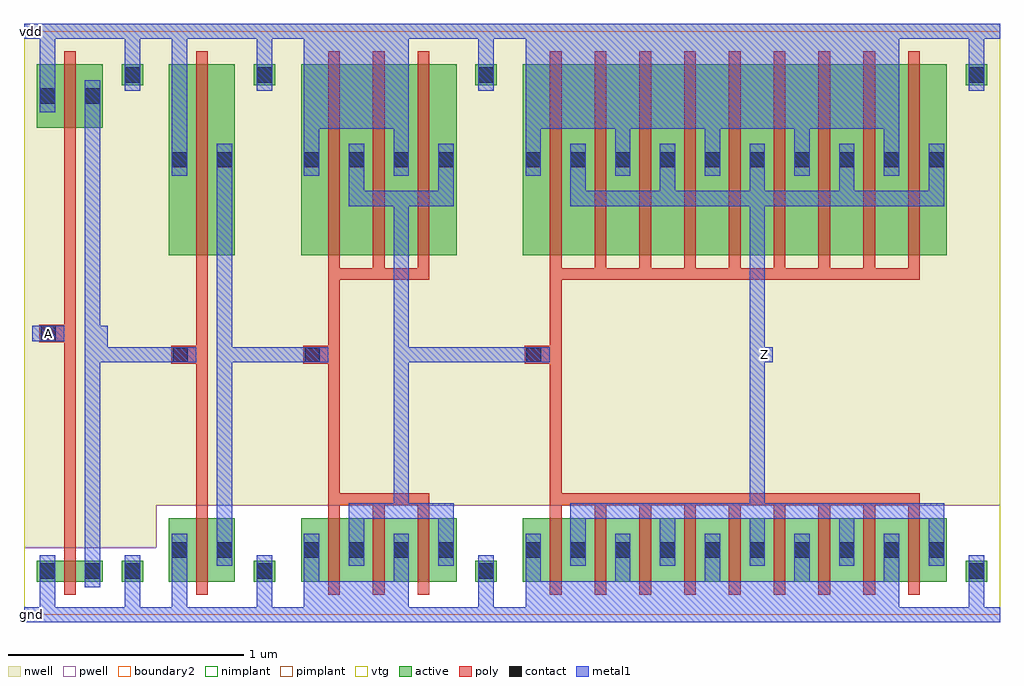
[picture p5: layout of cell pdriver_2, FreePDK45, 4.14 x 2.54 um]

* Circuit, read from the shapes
.subckt pdriver_2 A Z gnd vdd
M1 pinv_10_1/A A gnd gnd nfet w=0.09u l=0.05u
M2 pinv_11_2/A pinv_10_1/A gnd gnd nfet w=0.27u l=0.05u
M3 pinv_12_3/A pinv_11_2/A gnd gnd nfet w=0.27u l=0.05u m=3
M4 Z pinv_12_3/A gnd gnd nfet w=0.27u l=0.05u m=9
M5 pinv_10_1/A A vdd vdd pfet w=0.27u l=0.05u
M6 pinv_11_2/A pinv_10_1/A vdd vdd pfet w=0.81u l=0.05u
M7 pinv_12_3/A pinv_11_2/A vdd vdd pfet w=0.81u l=0.05u m=3
M8 Z pinv_12_3/A vdd vdd pfet w=0.81u l=0.05u m=9
.ends

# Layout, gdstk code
import gdstk
lib = gdstk.Library(unit=1e-6, precision=5e-10)
def R(c, l, rs):  # rectangles x0, y0, x1, y1
    for r in rs: c.add(gdstk.rectangle(r[:2], r[2:], *l))
def A(c, l, x, y, w, h, nx, ny, dx, dy):  # array of equal rectangles
    R(c, l, [(x+i*dx, y+j*dy, x+i*dx+w, y+j*dy+h) for i in range(nx) for j in range(ny)])
active = (1, 0)
pwell = (2, 0)
nwell = (3, 0)
nimplant = (4, 0)
pimplant = (5, 0)
vtg = (6, 0)
poly = (9, 0)
contact = (10, 0)
metal1 = (11, 0)
boundary2 = (239, 0)

contact_9 = lib.new_cell('contact_9')
R(contact_9, active, [(0,0.0225,0.09,0.1125)])
R(contact_9, nwell, [(-0.055,-0.0325,0.145,0.1675)])
R(contact_9, pimplant, [(0,0.0225,0.09,0.1125)])
R(contact_9, contact, [(0.0125,0.035,0.0775,0.1)])
R(contact_9, metal1, [(0.0125,0,0.0775,0.135)])

pmos_m1_w0_270_a_p = lib.new_cell('pmos_m1_w0_270_a_p')
R(pmos_m1_w0_270_a_p, active, [(0,0,0.28,0.27)])
R(pmos_m1_w0_270_a_p, nwell, [(-0.055,-0.055,0.335,0.325)])
R(pmos_m1_w0_270_a_p, pimplant, [(0,0,0.28,0.27)])
R(pmos_m1_w0_270_a_p, vtg, [(-0.055,-0.055,0.335,0.325)])
R(pmos_m1_w0_270_a_p, poly, [(0.115,-0.055,0.165,0.325), (0.115,-0.055,0.165,0.325)])
R(pmos_m1_w0_270_a_p, metal1, [(0.0125,0.0675,0.0775,0.2025), (0.2025,0.0675,0.2675,0.2025)])
pmos_m1_w0_270_a_p.add(gdstk.Reference(contact_9, (0,0.0675)))
pmos_m1_w0_270_a_p.add(gdstk.Reference(contact_9, (0.19,0.0675)))
pmos_m1_w0_270_a_p.add(gdstk.Label('G', (0.14,0.135), layer=9, texttype=0))
pmos_m1_w0_270_a_p.add(gdstk.Label('S', (0.045,0.135), layer=11, texttype=0))
pmos_m1_w0_270_a_p.add(gdstk.Label('D', (0.235,0.135), layer=11, texttype=0))

contact_14 = lib.new_cell('contact_14')
R(contact_14, active, [(0,0.0225,0.09,0.1125)])
R(contact_14, pwell, [(-0.055,-0.0325,0.145,0.1675)])
R(contact_14, nimplant, [(0,0.0225,0.09,0.1125)])
R(contact_14, contact, [(0.0125,0.035,0.0775,0.1)])
R(contact_14, metal1, [(0.0125,0,0.0775,0.135)])

nmos_m1_w0_090_a_p = lib.new_cell('nmos_m1_w0_090_a_p')
R(nmos_m1_w0_090_a_p, active, [(0,0,0.28,0.09)])
R(nmos_m1_w0_090_a_p, pwell, [(-0.055,-0.055,0.335,0.145)])
R(nmos_m1_w0_090_a_p, nimplant, [(0,0,0.28,0.09)])
R(nmos_m1_w0_090_a_p, vtg, [(-0.055,-0.055,0.335,0.145)])
R(nmos_m1_w0_090_a_p, poly, [(0.115,-0.055,0.165,0.145), (0.115,-0.055,0.165,0.145)])
R(nmos_m1_w0_090_a_p, metal1, [(0.0125,-0.0225,0.0775,0.1125), (0.2025,-0.0225,0.2675,0.1125)])
nmos_m1_w0_090_a_p.add(gdstk.Reference(contact_14, (0,-0.0225)))
nmos_m1_w0_090_a_p.add(gdstk.Reference(contact_14, (0.19,-0.0225)))
nmos_m1_w0_090_a_p.add(gdstk.Label('G', (0.14,0.045), layer=9, texttype=0))
nmos_m1_w0_090_a_p.add(gdstk.Label('S', (0.045,0.045), layer=11, texttype=0))
nmos_m1_w0_090_a_p.add(gdstk.Label('D', (0.235,0.045), layer=11, texttype=0))

contact_18 = lib.new_cell('contact_18')
R(contact_18, active, [(0,0.0225,0.09,0.1125)])
R(contact_18, nwell, [(-0.055,-0.0325,0.145,0.1675)])
R(contact_18, nimplant, [(0,0.0225,0.09,0.1125)])
R(contact_18, contact, [(0.0125,0.035,0.0775,0.1)])
R(contact_18, metal1, [(0.0125,0,0.0775,0.135)])

contact_19 = lib.new_cell('contact_19')
R(contact_19, active, [(0,0.0225,0.09,0.1125)])
R(contact_19, pwell, [(-0.055,-0.0325,0.145,0.1675)])
R(contact_19, pimplant, [(0,0.0225,0.09,0.1125)])
R(contact_19, contact, [(0.0125,0.035,0.0775,0.1)])
R(contact_19, metal1, [(0.0125,0,0.0775,0.135)])

contact_10 = lib.new_cell('contact_10')
R(contact_10, poly, [(0.03,0,0.105,0.075)])
R(contact_10, contact, [(0.035,0.005,0.1,0.07)])
R(contact_10, metal1, [(0,0.005,0.135,0.07)])

pinv_8 = lib.new_cell('pinv_8')
R(pinv_8, pwell, [(0,-0.0325,0.56,0.285)])
R(pinv_8, nwell, [(0,0.285,0.56,2.5075)])
R(pinv_8, vtg, [(0,-0.0325,0.56,0.285), (0,0.285,0.56,2.5075)])
R(pinv_8, poly, [(0.17,0.085,0.22,2.01), (0.1025,1.155,0.17,1.23)])
R(pinv_8, metal1, [(0,-0.0325,0.56,0.0325), (0.0675,-0.0325,0.1325,0.1175), (0.4275,0,0.4925,0.185), (0.2575,0.1175,0.3225,2.2675), (0.035,1.16,0.17,1.225), (0.29,1.16,0.355,1.225), (0.0675,2.1325,0.1325,2.5075), (0.4275,2.29,0.4925,2.475), (0,2.4425,0.56,2.5075)])
R(pinv_8, boundary2, [(0,0,0.56,2.475)])
pinv_8.add(gdstk.Reference(pmos_m1_w0_270_a_p, (0.055,2.065)))
pinv_8.add(gdstk.Reference(nmos_m1_w0_090_a_p, (0.055,0.14)))
pinv_8.add(gdstk.Reference(contact_18, (0.415,2.2225)))
pinv_8.add(gdstk.Reference(contact_19, (0.415,0.1175)))
pinv_8.add(gdstk.Reference(contact_10, (0.035,1.155)))
pinv_8.add(gdstk.Label('gnd', (0.28,0), layer=11, texttype=0))
pinv_8.add(gdstk.Label('vdd', (0.28,2.475), layer=11, texttype=0))
pinv_8.add(gdstk.Label('A', (0.1025,1.1925), layer=11, texttype=0))
pinv_8.add(gdstk.Label('Z', (0.3225,1.1925), layer=11, texttype=0))

pmos_m1_w0_810_a_p = lib.new_cell('pmos_m1_w0_810_a_p')
R(pmos_m1_w0_810_a_p, active, [(0,0,0.28,0.81)])
R(pmos_m1_w0_810_a_p, nwell, [(-0.055,-0.055,0.335,0.865)])
R(pmos_m1_w0_810_a_p, pimplant, [(0,0,0.28,0.81)])
R(pmos_m1_w0_810_a_p, vtg, [(-0.055,-0.055,0.335,0.865)])
R(pmos_m1_w0_810_a_p, poly, [(0.115,-0.055,0.165,0.865), (0.115,-0.055,0.165,0.865)])
R(pmos_m1_w0_810_a_p, metal1, [(0.0125,0.3375,0.0775,0.4725), (0.2025,0.3375,0.2675,0.4725)])
pmos_m1_w0_810_a_p.add(gdstk.Reference(contact_9, (0,0.3375)))
pmos_m1_w0_810_a_p.add(gdstk.Reference(contact_9, (0.19,0.3375)))
pmos_m1_w0_810_a_p.add(gdstk.Label('G', (0.14,0.405), layer=9, texttype=0))
pmos_m1_w0_810_a_p.add(gdstk.Label('S', (0.045,0.405), layer=11, texttype=0))
pmos_m1_w0_810_a_p.add(gdstk.Label('D', (0.235,0.405), layer=11, texttype=0))

nmos_m1_w0_270_a_p = lib.new_cell('nmos_m1_w0_270_a_p')
R(nmos_m1_w0_270_a_p, active, [(0,0,0.28,0.27)])
R(nmos_m1_w0_270_a_p, pwell, [(-0.055,-0.055,0.335,0.325)])
R(nmos_m1_w0_270_a_p, nimplant, [(0,0,0.28,0.27)])
R(nmos_m1_w0_270_a_p, vtg, [(-0.055,-0.055,0.335,0.325)])
R(nmos_m1_w0_270_a_p, poly, [(0.115,-0.055,0.165,0.325), (0.115,-0.055,0.165,0.325)])
R(nmos_m1_w0_270_a_p, metal1, [(0.0125,0.0675,0.0775,0.2025), (0.2025,0.0675,0.2675,0.2025)])
nmos_m1_w0_270_a_p.add(gdstk.Reference(contact_14, (0,0.0675)))
nmos_m1_w0_270_a_p.add(gdstk.Reference(contact_14, (0.19,0.0675)))
nmos_m1_w0_270_a_p.add(gdstk.Label('G', (0.14,0.135), layer=9, texttype=0))
nmos_m1_w0_270_a_p.add(gdstk.Label('S', (0.045,0.135), layer=11, texttype=0))
nmos_m1_w0_270_a_p.add(gdstk.Label('D', (0.235,0.135), layer=11, texttype=0))

pinv_10 = lib.new_cell('pinv_10')
R(pinv_10, pwell, [(0,-0.0325,0.56,0.465)])
R(pinv_10, nwell, [(0,0.465,0.56,2.5075)])
R(pinv_10, vtg, [(0,-0.0325,0.56,0.465), (0,0.465,0.56,2.5075)])
R(pinv_10, poly, [(0.17,0.085,0.22,1.47), (0.1025,1.065,0.17,1.14)])
R(pinv_10, metal1, [(0,-0.0325,0.56,0.0325), (0.0675,-0.0325,0.1325,0.2075), (0.4275,0,0.4925,0.185), (0.2575,0.2075,0.3225,1.9975), (0.035,1.07,0.17,1.135), (0.29,1.07,0.355,1.135), (0.0675,1.8625,0.1325,2.5075), (0.4275,2.29,0.4925,2.475), (0,2.4425,0.56,2.5075)])
R(pinv_10, boundary2, [(0,0,0.56,2.475)])
pinv_10.add(gdstk.Reference(pmos_m1_w0_810_a_p, (0.055,1.525)))
pinv_10.add(gdstk.Reference(nmos_m1_w0_270_a_p, (0.055,0.14)))
pinv_10.add(gdstk.Reference(contact_18, (0.415,2.2225)))
pinv_10.add(gdstk.Reference(contact_19, (0.415,0.1175)))
pinv_10.add(gdstk.Reference(contact_10, (0.035,1.065)))
pinv_10.add(gdstk.Label('gnd', (0.28,0), layer=11, texttype=0))
pinv_10.add(gdstk.Label('vdd', (0.28,2.475), layer=11, texttype=0))
pinv_10.add(gdstk.Label('A', (0.1025,1.1025), layer=11, texttype=0))
pinv_10.add(gdstk.Label('Z', (0.3225,1.1025), layer=11, texttype=0))

pmos_m3_w0_810_a_p = lib.new_cell('pmos_m3_w0_810_a_p')
R(pmos_m3_w0_810_a_p, active, [(0,0,0.66,0.81)])
R(pmos_m3_w0_810_a_p, nwell, [(-0.055,-0.055,0.715,0.865)])
R(pmos_m3_w0_810_a_p, pimplant, [(0,0,0.66,0.81)])
R(pmos_m3_w0_810_a_p, vtg, [(-0.055,-0.055,0.715,0.865)])
A(pmos_m3_w0_810_a_p, poly, 0.115, -0.055, 0.05, 0.92, 3, 1, 0.19, 0)
R(pmos_m3_w0_810_a_p, poly, [(0.115,-0.105,0.545,-0.055)])
R(pmos_m3_w0_810_a_p, metal1, [(0.2025,0.2075,0.6475,0.2725), (0.2025,0.24,0.2675,0.405), (0.5825,0.24,0.6475,0.405), (0.0125,0.405,0.0775,0.57), (0.3925,0.405,0.4575,0.57), (0.0125,0.5375,0.4575,0.6025)])
pmos_m3_w0_810_a_p.add(gdstk.Reference(contact_9, (0,0.3375)))
pmos_m3_w0_810_a_p.add(gdstk.Reference(contact_9, (0.38,0.3375)))
pmos_m3_w0_810_a_p.add(gdstk.Reference(contact_9, (0.19,0.3375)))
pmos_m3_w0_810_a_p.add(gdstk.Reference(contact_9, (0.57,0.3375)))
pmos_m3_w0_810_a_p.add(gdstk.Label('G', (0.33,-0.08), layer=9, texttype=0))
pmos_m3_w0_810_a_p.add(gdstk.Label('S', (0.235,0.57), layer=11, texttype=0))
pmos_m3_w0_810_a_p.add(gdstk.Label('D', (0.425,0.24), layer=11, texttype=0))

nmos_m3_w0_270_a_p = lib.new_cell('nmos_m3_w0_270_a_p')
R(nmos_m3_w0_270_a_p, active, [(0,0,0.66,0.27)])
R(nmos_m3_w0_270_a_p, pwell, [(-0.055,-0.055,0.715,0.325)])
R(nmos_m3_w0_270_a_p, nimplant, [(0,0,0.66,0.27)])
R(nmos_m3_w0_270_a_p, vtg, [(-0.055,-0.055,0.715,0.325)])
A(nmos_m3_w0_270_a_p, poly, 0.115, -0.055, 0.05, 0.38, 3, 1, 0.19, 0)
R(nmos_m3_w0_270_a_p, poly, [(0.115,0.325,0.545,0.375)])
R(nmos_m3_w0_270_a_p, metal1, [(0.0125,-0.0625,0.4575,0.0025), (0.0125,-0.03,0.0775,0.135), (0.3925,-0.03,0.4575,0.135), (0.2025,0.135,0.2675,0.3), (0.5825,0.135,0.6475,0.3), (0.2025,0.2675,0.6475,0.3325)])
nmos_m3_w0_270_a_p.add(gdstk.Reference(contact_14, (0,0.0675)))
nmos_m3_w0_270_a_p.add(gdstk.Reference(contact_14, (0.38,0.0675)))
nmos_m3_w0_270_a_p.add(gdstk.Reference(contact_14, (0.19,0.0675)))
nmos_m3_w0_270_a_p.add(gdstk.Reference(contact_14, (0.57,0.0675)))
nmos_m3_w0_270_a_p.add(gdstk.Label('G', (0.33,0.35), layer=9, texttype=0))
nmos_m3_w0_270_a_p.add(gdstk.Label('S', (0.235,-0.03), layer=11, texttype=0))
nmos_m3_w0_270_a_p.add(gdstk.Label('D', (0.425,0.3), layer=11, texttype=0))

pinv_11 = lib.new_cell('pinv_11')
R(pinv_11, pwell, [(0,-0.0325,0.94,0.465)])
R(pinv_11, nwell, [(0,0.465,0.94,2.5075)])
R(pinv_11, vtg, [(0,-0.0325,0.94,0.465), (0,0.465,0.94,2.5075)])
R(pinv_11, poly, [(0.17,0.465,0.22,1.42), (0.1025,1.065,0.17,1.14)])
R(pinv_11, metal1, [(0,-0.0325,0.94,0.0325), (0.0675,-0.0325,0.5125,0.0775), (0.8075,0,0.8725,0.185), (0.4475,0.4075,0.5125,1.7975), (0.035,1.07,0.17,1.135), (0.48,1.07,0.545,1.135), (0.0675,2.0625,0.5125,2.5075), (0.8075,2.29,0.8725,2.475), (0,2.4425,0.94,2.5075)])
R(pinv_11, boundary2, [(0,0,0.94,2.475)])
pinv_11.add(gdstk.Reference(pmos_m3_w0_810_a_p, (0.055,1.525)))
pinv_11.add(gdstk.Reference(nmos_m3_w0_270_a_p, (0.055,0.14)))
pinv_11.add(gdstk.Reference(contact_18, (0.795,2.2225)))
pinv_11.add(gdstk.Reference(contact_19, (0.795,0.1175)))
pinv_11.add(gdstk.Reference(contact_10, (0.035,1.065)))
pinv_11.add(gdstk.Label('gnd', (0.47,0), layer=11, texttype=0))
pinv_11.add(gdstk.Label('vdd', (0.47,2.475), layer=11, texttype=0))
pinv_11.add(gdstk.Label('A', (0.1025,1.1025), layer=11, texttype=0))
pinv_11.add(gdstk.Label('Z', (0.5125,1.1025), layer=11, texttype=0))

pmos_m9_w0_810_a_p = lib.new_cell('pmos_m9_w0_810_a_p')
R(pmos_m9_w0_810_a_p, active, [(0,0,1.8,0.81)])
R(pmos_m9_w0_810_a_p, nwell, [(-0.055,-0.055,1.855,0.865)])
R(pmos_m9_w0_810_a_p, pimplant, [(0,0,1.8,0.81)])
R(pmos_m9_w0_810_a_p, vtg, [(-0.055,-0.055,1.855,0.865)])
A(pmos_m9_w0_810_a_p, poly, 0.115, -0.055, 0.05, 0.92, 9, 1, 0.19, 0)
R(pmos_m9_w0_810_a_p, poly, [(0.115,-0.105,1.685,-0.055)])
A(pmos_m9_w0_810_a_p, metal1, 0.2025, 0.24, 0.065, 0.165, 5, 1, 0.38, 0)
A(pmos_m9_w0_810_a_p, metal1, 0.0125, 0.405, 0.065, 0.165, 5, 1, 0.38, 0)
R(pmos_m9_w0_810_a_p, metal1, [(0.2025,0.2075,1.7875,0.2725), (0.0125,0.5375,1.5975,0.6025)])
pmos_m9_w0_810_a_p.add(gdstk.Reference(contact_9, (0,0.3375)))
pmos_m9_w0_810_a_p.add(gdstk.Reference(contact_9, (0.38,0.3375)))
pmos_m9_w0_810_a_p.add(gdstk.Reference(contact_9, (0.76,0.3375)))
pmos_m9_w0_810_a_p.add(gdstk.Reference(contact_9, (1.14,0.3375)))
pmos_m9_w0_810_a_p.add(gdstk.Reference(contact_9, (1.52,0.3375)))
pmos_m9_w0_810_a_p.add(gdstk.Reference(contact_9, (0.19,0.3375)))
pmos_m9_w0_810_a_p.add(gdstk.Reference(contact_9, (0.57,0.3375)))
pmos_m9_w0_810_a_p.add(gdstk.Reference(contact_9, (0.95,0.3375)))
pmos_m9_w0_810_a_p.add(gdstk.Reference(contact_9, (1.33,0.3375)))
pmos_m9_w0_810_a_p.add(gdstk.Reference(contact_9, (1.71,0.3375)))
pmos_m9_w0_810_a_p.add(gdstk.Label('G', (0.9,-0.08), layer=9, texttype=0))
pmos_m9_w0_810_a_p.add(gdstk.Label('S', (0.805,0.57), layer=11, texttype=0))
pmos_m9_w0_810_a_p.add(gdstk.Label('D', (0.995,0.24), layer=11, texttype=0))

nmos_m9_w0_270_a_p = lib.new_cell('nmos_m9_w0_270_a_p')
R(nmos_m9_w0_270_a_p, active, [(0,0,1.8,0.27)])
R(nmos_m9_w0_270_a_p, pwell, [(-0.055,-0.055,1.855,0.325)])
R(nmos_m9_w0_270_a_p, nimplant, [(0,0,1.8,0.27)])
R(nmos_m9_w0_270_a_p, vtg, [(-0.055,-0.055,1.855,0.325)])
A(nmos_m9_w0_270_a_p, poly, 0.115, -0.055, 0.05, 0.38, 9, 1, 0.19, 0)
R(nmos_m9_w0_270_a_p, poly, [(0.115,0.325,1.685,0.375)])
A(nmos_m9_w0_270_a_p, metal1, 0.0125, -0.03, 0.065, 0.165, 5, 1, 0.38, 0)
A(nmos_m9_w0_270_a_p, metal1, 0.2025, 0.135, 0.065, 0.165, 5, 1, 0.38, 0)
R(nmos_m9_w0_270_a_p, metal1, [(0.0125,-0.0625,1.5975,0.0025), (0.2025,0.2675,1.7875,0.3325)])
nmos_m9_w0_270_a_p.add(gdstk.Reference(contact_14, (0,0.0675)))
nmos_m9_w0_270_a_p.add(gdstk.Reference(contact_14, (0.38,0.0675)))
nmos_m9_w0_270_a_p.add(gdstk.Reference(contact_14, (0.76,0.0675)))
nmos_m9_w0_270_a_p.add(gdstk.Reference(contact_14, (1.14,0.0675)))
nmos_m9_w0_270_a_p.add(gdstk.Reference(contact_14, (1.52,0.0675)))
nmos_m9_w0_270_a_p.add(gdstk.Reference(contact_14, (0.19,0.0675)))
nmos_m9_w0_270_a_p.add(gdstk.Reference(contact_14, (0.57,0.0675)))
nmos_m9_w0_270_a_p.add(gdstk.Reference(contact_14, (0.95,0.0675)))
nmos_m9_w0_270_a_p.add(gdstk.Reference(contact_14, (1.33,0.0675)))
nmos_m9_w0_270_a_p.add(gdstk.Reference(contact_14, (1.71,0.0675)))
nmos_m9_w0_270_a_p.add(gdstk.Label('G', (0.9,0.35), layer=9, texttype=0))
nmos_m9_w0_270_a_p.add(gdstk.Label('S', (0.805,-0.03), layer=11, texttype=0))
nmos_m9_w0_270_a_p.add(gdstk.Label('D', (0.995,0.3), layer=11, texttype=0))

pinv_12 = lib.new_cell('pinv_12')
R(pinv_12, pwell, [(0,-0.0325,2.08,0.465)])
R(pinv_12, nwell, [(0,0.465,2.08,2.5075)])
R(pinv_12, vtg, [(0,-0.0325,2.08,0.465), (0,0.465,2.08,2.5075)])
R(pinv_12, poly, [(0.17,0.465,0.22,1.42), (0.1025,1.065,0.17,1.14)])
R(pinv_12, metal1, [(0,-0.0325,2.08,0.0325), (0.0675,-0.0325,1.6525,0.0775), (1.9475,0,2.0125,0.185), (1.0175,0.4075,1.0825,1.7975), (0.035,1.07,0.17,1.135), (1.05,1.07,1.115,1.135), (0.0675,2.0625,1.6525,2.5075), (1.9475,2.29,2.0125,2.475), (0,2.4425,2.08,2.5075)])
R(pinv_12, boundary2, [(0,0,2.08,2.475)])
pinv_12.add(gdstk.Reference(pmos_m9_w0_810_a_p, (0.055,1.525)))
pinv_12.add(gdstk.Reference(nmos_m9_w0_270_a_p, (0.055,0.14)))
pinv_12.add(gdstk.Reference(contact_18, (1.935,2.2225)))
pinv_12.add(gdstk.Reference(contact_19, (1.935,0.1175)))
pinv_12.add(gdstk.Reference(contact_10, (0.035,1.065)))
pinv_12.add(gdstk.Label('gnd', (1.04,0), layer=11, texttype=0))
pinv_12.add(gdstk.Label('vdd', (1.04,2.475), layer=11, texttype=0))
pinv_12.add(gdstk.Label('A', (0.1025,1.1025), layer=11, texttype=0))
pinv_12.add(gdstk.Label('Z', (1.0825,1.1025), layer=11, texttype=0))

pdriver_2 = lib.new_cell('pdriver_2')
R(pdriver_2, metal1, [(0,-0.0325,0.065,0.0325), (0.29,1.07,0.355,1.135), (0.3225,1.07,0.6625,1.135), (0.8825,1.07,1.2225,1.135), (1.6325,1.07,2.1625,1.135), (3.11,1.07,3.175,1.135), (0.29,1.1025,0.355,1.1925), (0.035,1.16,0.17,1.225), (0,2.4425,0.065,2.5075)])
R(pdriver_2, boundary2, [(0,0,4.14,2.475)])
pdriver_2.add(gdstk.Reference(pinv_8, (0,0)))
pdriver_2.add(gdstk.Reference(pinv_10, (0.56,0)))
pdriver_2.add(gdstk.Reference(pinv_11, (1.12,0)))
pdriver_2.add(gdstk.Reference(pinv_12, (2.06,0)))
pdriver_2.add(gdstk.Label('vdd', (0.0325,2.475), layer=11, texttype=0))
pdriver_2.add(gdstk.Label('gnd', (0.0325,0), layer=11, texttype=0))
pdriver_2.add(gdstk.Label('Z', (3.1425,1.1025), layer=11, texttype=0))
pdriver_2.add(gdstk.Label('A', (0.1025,1.1925), layer=11, texttype=0))

lib.write_gds('pdriver_2.gds')
